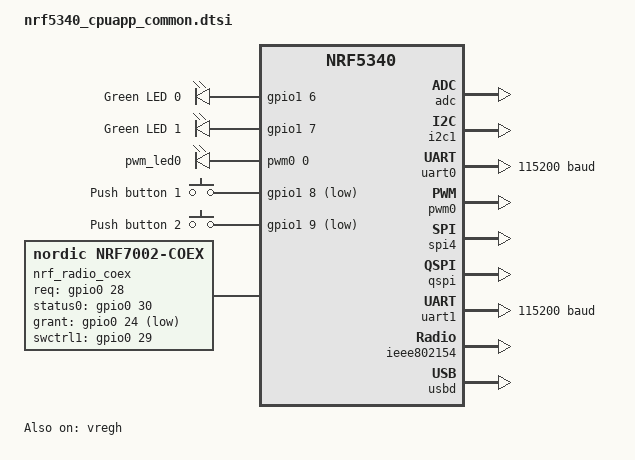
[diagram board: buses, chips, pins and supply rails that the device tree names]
/*
 * Copyright (c) 2024 Nordic Semiconductor ASA
 *
 * SPDX-License-Identifier: Apache-2.0
 */
#include "nrf5340_cpuapp_common_pinctrl.dtsi"
#include <zephyr/dt-bindings/input/input-event-codes.h>

/ {
	chosen {
		zephyr,console = &uart0;
		zephyr,shell-uart = &uart0;
		zephyr,uart-mcumgr = &uart0;
		zephyr,bt-mon-uart = &uart0;
		zephyr,bt-c2h-uart = &uart0;
		zephyr,bt-hci = &bt_hci_ipc0;
		nordic,802154-spinel-ipc = &ipc0;
		zephyr,ieee802154 = &ieee802154;
	};

	leds {
		compatible = "gpio-leds";

		led0: led_0 {
			gpios = <&gpio1 6 GPIO_ACTIVE_HIGH>;
			label = "Green LED 0";
		};

		led1: led_1 {
			gpios = <&gpio1 7 GPIO_ACTIVE_HIGH>;
			label = "Green LED 1";
		};
	};

	pwmleds {
		compatible = "pwm-leds";

		pwm_led0: pwm_led_0 {
			pwms = <&pwm0 0 PWM_MSEC(20) PWM_POLARITY_NORMAL>;
		};
	};

	buttons {
		compatible = "gpio-keys";

		button0: button_0 {
			gpios = <&gpio1 8 (GPIO_PULL_UP | GPIO_ACTIVE_LOW)>;
			label = "Push button 1";
			zephyr,code = <INPUT_KEY_0>;
		};

		button1: button_1 {
			gpios = <&gpio1 9 (GPIO_PULL_UP | GPIO_ACTIVE_LOW)>;
			label = "Push button 2";
			zephyr,code = <INPUT_KEY_1>;
		};
	};

	gpio_fwd: nrf-gpio-forwarder {
		compatible = "nordic,nrf-gpio-forwarder";

		status = "okay";

		uart {
			gpios = <&gpio1 1 0>, <&gpio1 0 0>, <&gpio1 5 0>, <&gpio1 4 0>;
		};
	};

	/* These aliases are provided for compatibility with samples */
	aliases {
		led0 = &led0;
		led1 = &led1;
		pwm-led0 = &pwm_led0;
		sw0 = &button0;
		sw1 = &button1;
		mcuboot-button0 = &button0;
		mcuboot-led0 = &led0;
		watchdog0 = &wdt0;
	};

	nrf_radio_coex: coex {
		status = "okay";
		compatible = "nordic,nrf7002-coex";
		req-gpios = <&gpio0 28 GPIO_ACTIVE_HIGH>;
		status0-gpios = <&gpio0 30 GPIO_ACTIVE_HIGH>;
		grant-gpios = <&gpio0 24 (GPIO_PULL_DOWN | GPIO_ACTIVE_LOW)>;
		swctrl1-gpios = <&gpio0 29 GPIO_ACTIVE_HIGH>;
	};
};

&vregmain {
	regulator-initial-mode = <NRF5X_REG_MODE_DCDC>;
};

&vregradio {
	regulator-initial-mode = <NRF5X_REG_MODE_DCDC>;
};

&vregh {
	status = "okay";
};

&adc {
	status = "okay";
};

&gpiote {
	status = "okay";
};

&gpio0 {
	status = "okay";
};

&gpio1 {
	status = "okay";
};

&i2c1 {
	compatible = "nordic,nrf-twim";

	status = "okay";
	pinctrl-0 = <&i2c1_default>;
	pinctrl-1 = <&i2c1_sleep>;
	pinctrl-names = "default", "sleep";
};

&uart0 {
	status = "okay";
	current-speed = <115200>;
	pinctrl-0 = <&uart0_default>;
	pinctrl-1 = <&uart0_sleep>;
	pinctrl-names = "default", "sleep";
};

&pwm0 {
	status = "okay";
	pinctrl-0 = <&pwm0_default>;
	pinctrl-1 = <&pwm0_sleep>;
	pinctrl-names = "default", "sleep";
};

&spi4 {
	compatible = "nordic,nrf-spim";
	status = "okay";

	pinctrl-0 = <&spi4_default>;
	pinctrl-1 = <&spi4_sleep>;
	pinctrl-names = "default", "sleep";
};

&qspi {
	status = "okay";

	pinctrl-0 = <&qspi_default>;
	pinctrl-1 = <&qspi_sleep>;
	pinctrl-names = "default", "sleep";
};

&uart1 {
	compatible = "nordic,nrf-uarte";

	current-speed = <115200>;
	pinctrl-0 = <&uart1_default>;
	pinctrl-1 = <&uart1_sleep>;
	pinctrl-names = "default", "sleep";
};

&spi3 {
	compatible = "nordic,nrf-spim";

	cs-gpios = <&gpio0 16 GPIO_ACTIVE_LOW>;

	pinctrl-0 = <&spi3_default>;
	pinctrl-1 = <&spi3_sleep>;
	pinctrl-names = "default", "sleep";
};

&ieee802154 {
	status = "okay";
};

zephyr_udc0: &usbd {
	compatible = "nordic,nrf-usbd";

	status = "okay";
};
